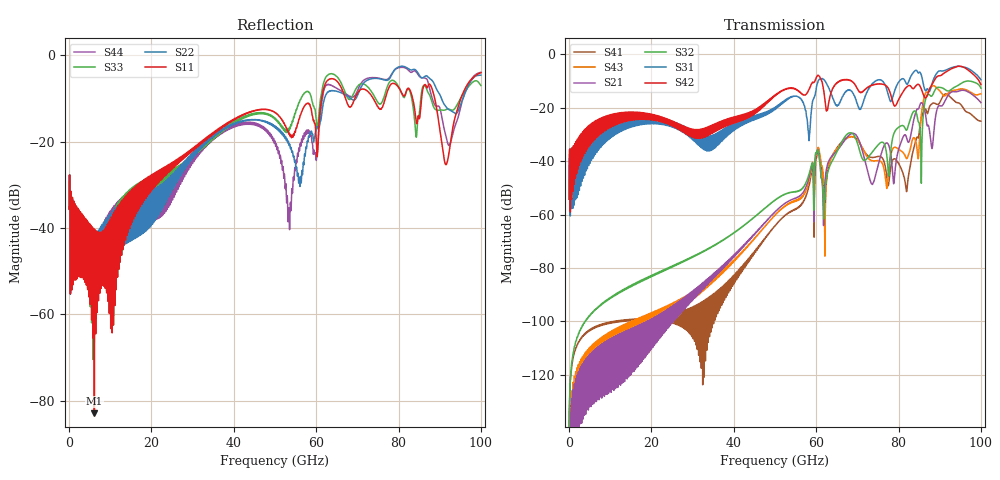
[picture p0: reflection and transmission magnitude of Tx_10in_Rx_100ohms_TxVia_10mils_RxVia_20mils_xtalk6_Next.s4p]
! Info: Touchstone file created by Circ.  Input file=Tx_10in_Rx_100ohms_TxVia_10mils_RxVia_20mils.circ
# Hz S RI R 50
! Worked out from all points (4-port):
!   10000 points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, 10 MHz to 100 GHz, reference 50 ohm
!   strongest paths, dB at 10 MHz, 25.01 GHz, 50.01 GHz, 75.01 GHz, 100 GHz:
!     S42: -54.2, -25.4, -15.5, -11.2, -11.3
!     S31: -54.2, -25.8, -20.5, -9.6, -9.5
!     S32: -144.8, -79.3, -54.7, -34.0, -12.7
!     S21: -160.6, -95.0, -59.0, -41.7, -18.1
!     S43: -146.7, -94.9, -60.3, -39.8, -14.8
!     S41: -144.9, -98.1, -64.2, -38.3, -25.0
!   lowest |S11| = -82.9 dB at 6.14 GHz (marker M1), VSWR 1.00, Z = 50 + j0.00582 ohm
!   |S11| at or under -10 dB: start of sweep to 61.35 GHz; 73.84 GHz to 76.79 GHz (2.942 GHz wide, 3.91 % of centre); 88.8 GHz to 95.12 GHz (6.325 GHz wide, 6.88 % of centre)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
1e7  0.0153 0.00648  5.27e-09 7.76e-09  0.00064 0.00183  1.22e-08 5.55e-08
     5.27e-09 7.76e-09  0.0153 0.00648  3.94e-11 5.75e-08  0.000637 0.00183
     0.00064 0.00183  3.94e-11 5.75e-08  0.0152 0.0065  -9.26e-09 4.52e-08
     1.22e-08 5.55e-08  0.000638 0.00183  -9.26e-09 4.52e-08  0.0152 0.00649
6.14e9  4.17e-05 5.82e-05  1.44e-06 2.57e-06  0.0126 0.0354  -1.37e-06 7.66e-06
        1.44e-06 2.57e-06  0.00728 0.00323  8.07e-06 1.4e-05  0.0229 0.0365
        0.0126 0.0354  8.07e-06 1.4e-05  0.000432 0.000449  1.89e-06 3.45e-06
        -1.37e-06 7.66e-06  0.0229 0.0365  1.89e-06 3.45e-06  0.00655 0.00339
3.825e10  0.0944 0.1318  3.44e-05 -0.000117  0.0145 0.0395  1.77e-05 -4.61e-05
          3.44e-05 -0.000117  0.1374 0.0532  -6.85e-05 -0.000356  0.0549 0.0255
          0.0145 0.0395  -6.85e-05 -0.000356  0.0798 0.1298  -2.57e-05 -9.89e-05
          1.77e-05 -4.61e-05  0.0549 0.0255  -2.57e-05 -9.89e-05  0.1296 0.0616
6.038e10  0.0703 -0.0365  0.0132 -0.0102  0.00707 0.3026  0.00933 -0.0128
          0.0132 -0.0102  0.1478 0.00286  0.0125 -0.0104  0.4024 -0.00866
          0.00707 0.3026  0.0125 -0.0104  0.1097 -0.1027  0.00946 -0.0146
          0.00933 -0.0128  0.4024 -0.00866  0.00946 -0.0146  0.0756 -0.0342
7.71e10  -0.2076 0.2884  -0.0219 -0.00183  0.0555 -0.2182  -0.00422 -0.00345
         -0.0219 -0.00183  0.2954 -0.4205  -0.00631 -0.0123  -0.2515 0.03
         0.0555 -0.2182  -0.00631 -0.0123  -0.2385 0.3334  -0.00317 1.6e-05
         -0.00422 -0.00345  -0.2515 0.03  -0.00317 1.6e-05  0.3296 -0.4079
8.801e10  -0.0151 -0.4269  0.0132 -0.0133  -0.0993 0.239  0.0954 0.0673
          0.0132 -0.0133  -0.3228 0.4077  -0.0035 0.1639  0.1144 0.2356
          -0.0993 0.239  -0.0035 0.1639  -0.2537 -0.1577  0.165 0.1828
          0.0954 0.0673  0.1144 0.2356  0.165 0.1828  -0.1796 0.2874
1e11  -0.6303 0.0178  0.0979 -0.0765  0.0719 0.3256  -0.0516 -0.0216
      0.0979 -0.0765  -0.5911 0.0388  0.119 0.1993  0.0989 0.2526
      0.0719 0.3256  0.119 0.1993  -0.4414 0.0763  0.1203 -0.1374
      -0.0516 -0.0216  0.0989 0.2526  0.1203 -0.1374  -0.6321 0.0866
